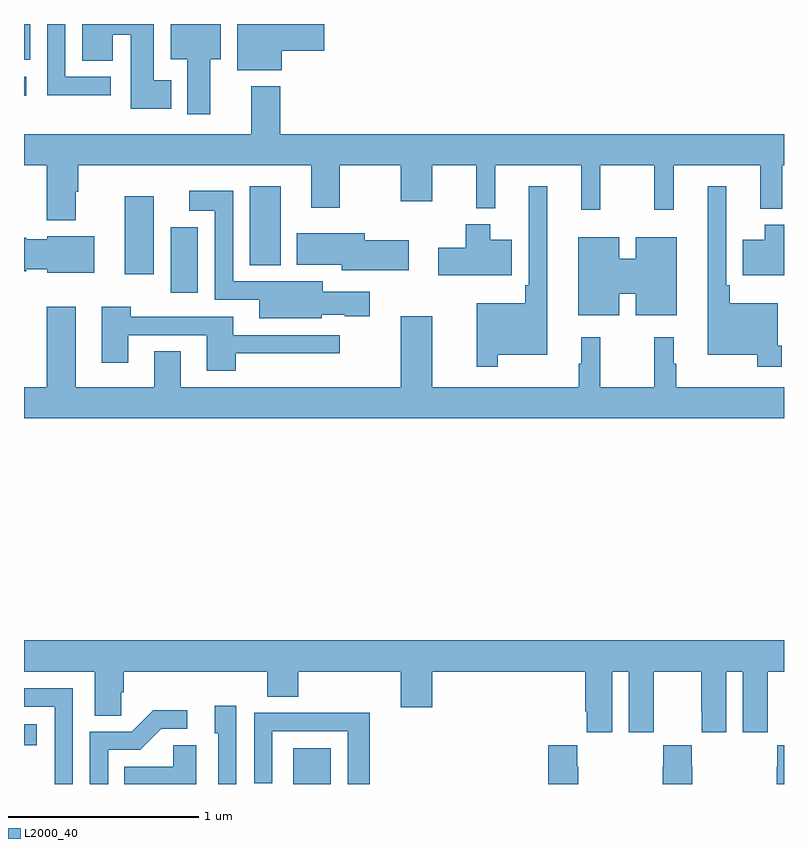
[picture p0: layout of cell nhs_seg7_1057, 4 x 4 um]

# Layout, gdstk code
import gdstk
lib = gdstk.Library(unit=1e-6, precision=1e-09)
def R(c, l, rs):  # rectangles x0, y0, x1, y1
    for r in rs: c.add(gdstk.rectangle(r[:2], r[2:], *l))
def P(c, l, *ps):  # polygons
    for p in ps: c.add(gdstk.Polygon(p, *l))
L2000_40 = (2000, 40)

nhs_seg7_1057 = lib.new_cell('nhs_seg7_1057')
R(nhs_seg7_1057, L2000_40, [(188.417,1024,188.614,1024.189), (187,1024.205,187.066,1024.315), (187.772,1026.585,187.915,1026.931), (187.529,1026.684,187.684,1027.093), (188.189,1026.731,188.35,1027.147), (187,1027.622,187.012,1027.723), (187,1027.812,187.033,1028)])
P(nhs_seg7_1057, L2000_40, [(187.456,1027.722),(187.218,1027.722),(187.218,1028),(187.122,1028),(187.122,1027.625),(187.456,1027.625)],
  [(188.356,1027.858),(188.581,1027.858),(188.581,1028),(188.123,1028),(188.123,1027.757),(188.356,1027.757)],
  [(187.774,1027.705),(187.684,1027.705),(187.684,1028),(187.307,1028),(187.307,1027.807),(187.468,1027.807),(187.468,1027.943),(187.562,1027.943),(187.562,1027.553),(187.774,1027.553)],
  [(187.981,1027.814),(188.035,1027.814),(188.035,1028),(187.772,1028),(187.772,1027.814),(187.859,1027.814),(187.859,1027.524),(187.981,1027.524)],
  [(187.273,1027.118),(187.286,1027.118),(187.286,1027.256),(188.513,1027.256),(188.513,1027.032),(188.661,1027.032),(188.661,1027.256),(188.984,1027.256),(188.984,1027.068),(189.148,1027.068),(189.148,1027.256),(189.379,1027.256),(189.379,1027.031),(189.479,1027.031),(189.479,1027.256),(189.932,1027.256),(189.932,1027.023),(190.034,1027.023),(190.034,1027.256),(190.318,1027.256),(190.318,1027.023),(190.421,1027.023),(190.421,1027.256),(190.874,1027.256),(190.874,1027.028),(190.991,1027.028),(190.991,1027.256),(191,1027.256),(191,1027.42),(188.348,1027.42),(188.348,1027.672),(188.195,1027.672),(188.195,1027.42),(187,1027.42),(187,1027.256),(187.121,1027.256),(187.121,1026.968),(187.273,1026.968)],
  [(189.493,1026.26),(189.754,1026.26),(189.754,1027.147),(189.657,1027.147),(189.657,1026.625),(189.637,1026.625),(189.637,1026.529),(189.384,1026.529),(189.384,1026.195),(189.493,1026.195)],
  [(190.988,1026.307),(190.968,1026.307),(190.968,1026.529),(190.715,1026.529),(190.715,1026.625),(190.695,1026.625),(190.695,1027.147),(190.598,1027.147),(190.598,1026.26),(190.86,1026.26),(190.86,1026.195),(190.988,1026.195)],
  [(188.568,1026.47),(188.688,1026.47),(188.688,1026.463),(188.821,1026.463),(188.821,1026.592),(188.572,1026.592),(188.572,1026.646),(188.346,1026.646),(188.346,1026.645),(188.1,1026.645),(188.1,1027.123),(187.869,1027.123),(187.869,1027.016),(188.004,1027.016),(188.004,1026.549),(188.237,1026.549),(188.237,1026.452),(188.568,1026.452)],
  [(189.568,1026.865),(189.454,1026.865),(189.454,1026.946),(189.325,1026.946),(189.325,1026.822),(189.18,1026.822),(189.18,1026.677),(189.568,1026.677)],
  [(191,1026.943),(190.898,1026.943),(190.898,1026.865),(190.784,1026.865),(190.784,1026.677),(191,1026.677)],
  [(189.025,1026.862),(188.794,1026.862),(188.794,1026.898),(188.435,1026.898),(188.435,1026.734),(188.672,1026.734),(188.672,1026.704),(189.025,1026.704)],
  [(187.369,1026.883),(187.122,1026.883),(187.122,1026.868),(187.011,1026.868),(187.011,1026.876),(187,1026.876),(187,1026.698),(187.011,1026.698),(187.011,1026.71),(187.122,1026.71),(187.122,1026.692),(187.369,1026.692)],
  [(190.132,1026.581),(190.22,1026.581),(190.22,1026.467),(190.435,1026.467),(190.435,1026.877),(190.22,1026.877),(190.22,1026.764),(190.132,1026.764),(190.132,1026.877),(189.917,1026.877),(189.917,1026.467),(190.132,1026.467)],
  [(188.114,1026.266),(188.662,1026.266),(188.662,1026.363),(188.101,1026.363),(188.101,1026.459),(187.562,1026.459),(187.562,1026.511),(187.409,1026.511),(187.409,1026.216),(187.549,1026.216),(187.549,1026.363),(187.961,1026.363),(187.961,1026.174),(188.114,1026.174)],
  [(191,1026.088),(190.432,1026.088),(190.432,1026.212),(190.42,1026.212),(190.42,1026.352),(190.318,1026.352),(190.318,1026.088),(190.034,1026.088),(190.034,1026.352),(189.932,1026.352),(189.932,1026.212),(189.921,1026.212),(189.921,1026.088),(189.148,1026.088),(189.148,1026.463),(188.984,1026.463),(188.984,1026.088),(187.825,1026.088),(187.825,1026.278),(187.685,1026.278),(187.685,1026.088),(187.273,1026.088),(187.273,1026.511),(187.121,1026.511),(187.121,1026.088),(187,1026.088),(187,1025.924),(191,1025.924)],
  [(190.096,1024.592),(190.184,1024.592),(190.184,1024.272),(190.314,1024.272),(190.314,1024.384),(190.315,1024.384),(190.315,1024.592),(190.565,1024.592),(190.565,1024.384),(190.566,1024.384),(190.566,1024.272),(190.696,1024.272),(190.696,1024.592),(190.784,1024.592),(190.784,1024.272),(190.914,1024.272),(190.914,1024.384),(190.915,1024.384),(190.915,1024.592),(191,1024.592),(191,1024.756),(187,1024.756),(187,1024.592),(187.373,1024.592),(187.373,1024.36),(187.512,1024.36),(187.512,1024.483),(187.526,1024.483),(187.526,1024.592),(188.279,1024.592),(188.279,1024.459),(188.444,1024.459),(188.444,1024.592),(188.984,1024.592),(188.984,1024.404),(189.148,1024.404),(189.148,1024.592),(189.953,1024.592),(189.953,1024.384),(189.962,1024.384),(189.962,1024.272),(190.096,1024.272)],
  [(187.257,1024.503),(187,1024.503),(187,1024.407),(187.161,1024.407),(187.161,1024),(187.257,1024)],
  [(188.118,1024.411),(188.003,1024.411),(188.003,1024.266),(188.022,1024.266),(188.022,1024),(188.118,1024)],
  [(187.443,1024.179),(187.612,1024.179),(187.723,1024.29),(187.858,1024.29),(187.858,1024.388),(187.679,1024.388),(187.566,1024.275),(187.347,1024.275),(187.347,1024),(187.443,1024)],
  [(188.819,1024.376),(188.527,1024.376),(188.527,1024.374),(188.211,1024.374),(188.211,1024.005),(188.307,1024.005),(188.307,1024.278),(188.703,1024.278),(188.703,1024),(188.819,1024)],
  [(187.906,1024.205),(187.785,1024.205),(187.785,1024.09),(187.528,1024.09),(187.528,1024),(187.906,1024)],
  [(191,1024.204),(190.965,1024.204),(190.965,1024.091),(190.963,1024.091),(190.963,1024),(191,1024)],
  [(190.518,1024.091),(190.515,1024.091),(190.515,1024.204),(190.365,1024.204),(190.365,1024.091),(190.363,1024.091),(190.363,1024),(190.518,1024)],
  [(189.918,1024.091),(189.911,1024.091),(189.911,1024.204),(189.758,1024.204),(189.758,1024),(189.918,1024)])

lib.write_gds('nhs_seg7_1057.gds')
